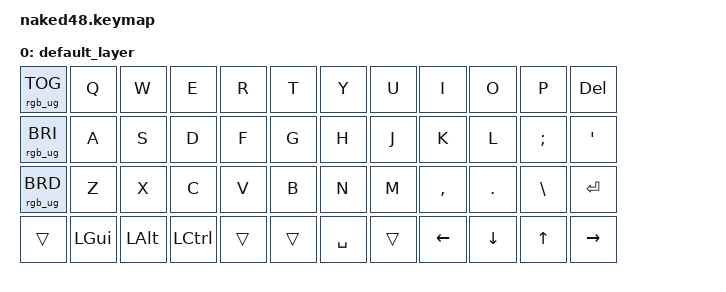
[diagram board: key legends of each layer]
#include <behaviors.dtsi>
#include <dt-bindings/zmk/keys.h>
#include <dt-bindings/zmk/rgb.h>

/ {
	keymap {
		compatible = "zmk,keymap";

		default_layer {
// -----------------------------------------------------------------------------------------
// |  TAB  |  Q   |  W   |  E   |  R   |  T   |   Y   |  U    |  I   |  O   |   P   | BSPC  |
// |  ESC  |  A   |  S   |  D   |  F   |  G   |   H   |  J    |  K   |  L   |   ;   |  '    |
// | SHIFT |  Z   |  X   |  C   |  V   |  B   |   N   |  M    |  ,   |  .   |   /   |  RET  |
// | FN    | LGUI | LALT | LCTL | LOWR |     SPACE    |  RAIS | LARW | DARW | UARW  |  RARW |
			bindings = <
	&rgb_ug RGB_TOG   &kp Q    &kp W    &kp E     &kp R  &kp T  &kp Y     &kp U  &kp I     &kp O    &kp P    &kp DEL
	&rgb_ug RGB_BRI   &kp A    &kp S    &kp D     &kp F  &kp G  &kp H     &kp J  &kp K     &kp L    &kp SEMI &kp SQT
	&rgb_ug RGB_BRD &kp Z    &kp X    &kp C     &kp V  &kp B  &kp N     &kp M  &kp COMMA &kp DOT  &kp BSLH &kp RET
	&trans    &kp LGUI &kp LALT &kp LCTRL &trans &trans &kp SPACE &trans &kp LEFT  &kp DOWN &kp UP   &kp RIGHT
			>;
		};
	};
};
